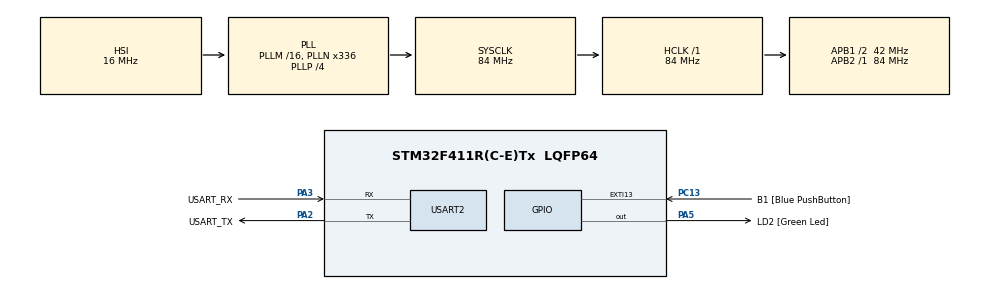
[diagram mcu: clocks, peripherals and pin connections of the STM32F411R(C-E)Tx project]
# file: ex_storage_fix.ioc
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Dma.Request0=USART2_RX
Dma.Request1=USART2_TX
Dma.USART2_RX.0.Direction=DMA_PERIPH_TO_MEMORY
Dma.USART2_RX.0.FIFOMode=DMA_FIFOMODE_DISABLE
Dma.USART2_RX.0.Instance=DMA1_Stream5
Dma.USART2_RX.0.MemDataAlignment=DMA_MDATAALIGN_BYTE
Dma.USART2_RX.0.MemInc=DMA_MINC_ENABLE
Dma.USART2_RX.0.Mode=DMA_NORMAL
Dma.USART2_RX.0.PeriphDataAlignment=DMA_PDATAALIGN_BYTE
Dma.USART2_RX.0.PeriphInc=DMA_PINC_DISABLE
Dma.USART2_RX.0.Priority=DMA_PRIORITY_LOW
Dma.USART2_TX.1.Direction=DMA_MEMORY_TO_PERIPH
Dma.USART2_TX.1.FIFOMode=DMA_FIFOMODE_DISABLE
Dma.USART2_TX.1.Instance=DMA1_Stream6
Dma.USART2_TX.1.MemDataAlignment=DMA_MDATAALIGN_BYTE
Dma.USART2_TX.1.MemInc=DMA_MINC_ENABLE
Dma.USART2_TX.1.Mode=DMA_NORMAL
Dma.USART2_TX.1.PeriphDataAlignment=DMA_PDATAALIGN_BYTE
Dma.USART2_TX.1.PeriphInc=DMA_PINC_DISABLE
Dma.USART2_TX.1.Priority=DMA_PRIORITY_LOW
Mcu.Family=STM32F4
Mcu.Name=STM32F411R(C-E)Tx
Mcu.Package=LQFP64
NVIC.DMA1_Stream5_IRQn=true\:0\:0\:false\:false\:true\:false\:true\:true
NVIC.DMA1_Stream6_IRQn=true\:0\:0\:false\:false\:true\:false\:true\:true
NVIC.PriorityGroup=NVIC_PRIORITYGROUP_0
NVIC.TIM2_IRQn=true\:0\:0\:false\:false\:true\:true\:true\:true
NVIC.USART2_IRQn=true\:0\:0\:false\:false\:true\:true\:true\:true
PA13.GPIO_Label=TMS
PA13.Mode=Serial_Wire
PA13.Signal=SYS_JTMS-SWDIO
PA14.GPIO_Label=TCK
PA14.Mode=Serial_Wire
PA14.Signal=SYS_JTCK-SWCLK
PA2.GPIO_Label=USART_TX
PA2.Mode=Asynchronous
PA2.Signal=USART2_TX
PA3.GPIO_Label=USART_RX
PA3.Mode=Asynchronous
PA3.Signal=USART2_RX
PA5.GPIO_Label=LD2 [Green Led]
PA5.Signal=GPIO_Output
PB3.GPIO_Label=SWO
PB3.Signal=SYS_JTDO-SWO
PC13-ANTI_TAMP.GPIO_Label=B1 [Blue PushButton]
PC13-ANTI_TAMP.GPIO_ModeDefaultEXTI=GPIO_MODE_IT_FALLING
PC13-ANTI_TAMP.Signal=GPXTI13
PC14-OSC32_IN.Mode=LSE-External-Oscillator
PC14-OSC32_IN.Signal=RCC_OSC32_IN
PC15-OSC32_OUT.Mode=LSE-External-Oscillator
PC15-OSC32_OUT.Signal=RCC_OSC32_OUT
PH0\ -\ OSC_IN.Mode=HSE-External-Clock-Source
PH0\ -\ OSC_IN.Signal=RCC_OSC_IN
PH1\ -\ OSC_OUT.Mode=HSE-External-Clock-Source
PH1\ -\ OSC_OUT.Signal=RCC_OSC_OUT
ProjectManager.HeapSize=0x200
ProjectManager.StackSize=0x400
ProjectManager.TargetToolchain=STM32CubeIDE
RCC.48MHZClocksFreq_Value=84000000
RCC.AHBFreq_Value=84000000
RCC.APB1CLKDivider=RCC_HCLK_DIV2
RCC.APB1Freq_Value=42000000
RCC.APB1TimFreq_Value=84000000
RCC.APB2Freq_Value=84000000
RCC.APB2TimFreq_Value=84000000
RCC.CortexFreq_Value=84000000
RCC.FLatency-AdvancedSettings=FLASH_LATENCY_2
RCC.HCLKFreq_Value=84000000
RCC.HSE_VALUE=8000000
RCC.HSI_VALUE=16000000
RCC.PLLN=336
RCC.PLLP=RCC_PLLP_DIV4
RCC.SYSCLKFreq_VALUE=84000000
RCC.SYSCLKSource=RCC_SYSCLKSOURCE_PLLCLK
RCC.VCOOutputFreq_Value=336000000
TIM2.Prescaler=84-1
USART2.VirtualMode=VM_ASYNC
VP_TIM2_VS_ClockSourceINT.Mode=Internal
board=NUCLEO-F411RE

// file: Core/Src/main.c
/* USER CODE BEGIN Header */
/**
  ******************************************************************************
  * @file           : main.c
  * @brief          : Main program body
  ******************************************************************************
  * @attention
  *
  * Copyright (c) 2022 STMicroelectronics.
  * All rights reserved.
  *
  * This software is licensed under terms that can be found in the LICENSE file
  * in the root directory of this software component.
  * If no LICENSE file comes with this software, it is provided AS-IS.
  *
  ******************************************************************************
  */
/* USER CODE END Header */
#include "main.h"

/* USER CODE BEGIN Includes */
#include "app_main.h"

/* USER CODE END Includes */

/* USER CODE BEGIN PD */
#define TASK_SIZE				4
#define TIMER_1MS_SIZE			1

#define ADDR_FLASH_SECTOR_0     ((uint32_t)0x08000000) /* Base @ of Sector 0, 16 Kbytes */
#define ADDR_FLASH_SECTOR_1     ((uint32_t)0x08004000) /* Base @ of Sector 1, 16 Kbytes */
#define ADDR_FLASH_SECTOR_2     ((uint32_t)0x08008000) /* Base @ of Sector 2, 16 Kbytes */
#define ADDR_FLASH_SECTOR_3     ((uint32_t)0x0800C000) /* Base @ of Sector 3, 16 Kbytes */
#define ADDR_FLASH_SECTOR_4     ((uint32_t)0x08010000) /* Base @ of Sector 4, 64 Kbytes */
#define ADDR_FLASH_SECTOR_5     ((uint32_t)0x08020000) /* Base @ of Sector 5, 128 Kbytes */
#define ADDR_FLASH_SECTOR_6     ((uint32_t)0x08040000) /* Base @ of Sector 6, 128 Kbytes */
#define ADDR_FLASH_SECTOR_7     ((uint32_t)0x08060000) /* Base @ of Sector 7, 128 Kbytes */

#define FLASH_USER_START_ADDR   ADDR_FLASH_SECTOR_6   /* Start @ of user Flash area */

#define STORAGE_SECTOR_SIZE		131072		// 128kbytes
#define STORAGE_VOLUME			262144		// 256kbytes

/* USER CODE END PD */

TIM_HandleTypeDef htim2;

UART_HandleTypeDef huart2;
DMA_HandleTypeDef hdma_usart2_rx;
DMA_HandleTypeDef hdma_usart2_tx;

/* USER CODE BEGIN PV */
static PifUart s_uart_log;

static uint16_t s_usLogTx;
static uint8_t s_ucLogRx;

/* USER CODE END PV */

void SystemClock_Config(void);
static void MX_GPIO_Init(void);
static void MX_DMA_Init(void);
static void MX_USART2_UART_Init(void);
static void MX_TIM2_Init(void);

/* USER CODE BEGIN 0 */
static uint32_t micros()
{
    return htim2.Instance->CNT;
}

static BOOL actLogStartTransfer(PifUart* p_uart)
{
	uint8_t *pucData, ucState;

	s_usLogTx = 0;
	ucState = pifUart_StartGetTxData(p_uart, &pucData, &s_usLogTx);
	if (ucState & PIF_UART_SEND_DATA_STATE_DATA) {
		HAL_UART_Transmit_IT(&huart2, pucData, s_usLogTx);
		return TRUE;
	}
	return FALSE;
}

void HAL_UART_TxCpltCallback(UART_HandleTypeDef *huart)
{
	uint8_t *pucData, ucState;

	if (huart->Instance == USART2) {
		ucState = pifUart_EndGetTxData(&s_uart_log, s_usLogTx);
		if (!(ucState & PIF_UART_SEND_DATA_STATE_EMPTY)) {
			s_usLogTx = 0;
			ucState = pifUart_StartGetTxData(&s_uart_log, &pucData, &s_usLogTx);
			if (ucState & PIF_UART_SEND_DATA_STATE_DATA) {
				HAL_UART_Transmit_IT(huart, pucData, s_usLogTx);
			}
		}
	}
}

void HAL_UART_RxCpltCallback(UART_HandleTypeDef *huart)
{
	if (huart->Instance == USART2) {
		pifUart_PutRxByte(&s_uart_log, s_ucLogRx);
		HAL_UART_Receive_IT(huart, &s_ucLogRx, 1);
	}
}

static void evtLedToggle(void *pvIssuer)
{
	static BOOL sw = OFF;

	(void)pvIssuer;

    HAL_GPIO_WritePin(LD2_GPIO_Port, LD2_Pin, sw);
	sw ^= 1;
}

static uint32_t GetSector(uint32_t address)
{
	uint32_t sector = 0;

	if ((address < ADDR_FLASH_SECTOR_1) && (address >= ADDR_FLASH_SECTOR_0)) {
		sector = FLASH_SECTOR_0;	// 16Kbytes
	}
	else if ((address < ADDR_FLASH_SECTOR_2) && (address >= ADDR_FLASH_SECTOR_1)) {
		sector = FLASH_SECTOR_1;	// 16Kbytes
	}
	else if ((address < ADDR_FLASH_SECTOR_3) && (address >= ADDR_FLASH_SECTOR_2)) {
		sector = FLASH_SECTOR_2;	// 16Kbytes
	}
	else if ((address < ADDR_FLASH_SECTOR_4) && (address >= ADDR_FLASH_SECTOR_3)) {
		sector = FLASH_SECTOR_3;	// 16Kbytes
	}
	else if ((address < ADDR_FLASH_SECTOR_5) && (address >= ADDR_FLASH_SECTOR_4)) {
		sector = FLASH_SECTOR_4;	// 64Kbytes
	}
	else if ((address < ADDR_FLASH_SECTOR_6) && (address >= ADDR_FLASH_SECTOR_5)) {
		sector = FLASH_SECTOR_5;	// 128Kbytes
	}
	else if ((address < ADDR_FLASH_SECTOR_7) && (address >= ADDR_FLASH_SECTOR_6)) {
		sector = FLASH_SECTOR_6;	// 128Kbytes
	}
	else {
		sector = FLASH_SECTOR_7;
	}

	return sector;
}

static HAL_StatusTypeDef EraseFlash(uint32_t start_addr)
{
	uint32_t sector_error = 0;

	/* Unlock to control */
	HAL_FLASH_Unlock();

	/* Calculate sector index */

	/* Erase sectors */
	FLASH_EraseInitTypeDef EraseInitStruct;
	EraseInitStruct.TypeErase = FLASH_TYPEERASE_SECTORS;
	EraseInitStruct.VoltageRange = FLASH_VOLTAGE_RANGE_3;
	EraseInitStruct.Sector = GetSector(start_addr);
	EraseInitStruct.NbSectors = 1;

	if (HAL_FLASHEx_Erase(&EraseInitStruct, &sector_error) != HAL_OK) return HAL_ERROR;

	/* Clear cache for flash */
	__HAL_FLASH_DATA_CACHE_DISABLE();
	__HAL_FLASH_INSTRUCTION_CACHE_DISABLE();

	__HAL_FLASH_DATA_CACHE_RESET();
	__HAL_FLASH_INSTRUCTION_CACHE_RESET();

	__HAL_FLASH_INSTRUCTION_CACHE_ENABLE();
	__HAL_FLASH_DATA_CACHE_ENABLE();

	/* Lock flash control register */
	HAL_FLASH_Lock();

	return HAL_OK;
}

static BOOL actStorageRead(PifStorage* p_owner, uint8_t* dst, uint32_t src, size_t size)
{
	uint32_t address = FLASH_USER_START_ADDR + src;
	uint32_t* dp = (uint32_t*)dst;
	size_t i;

	(void)p_owner;

	for (i = 0; i < size; i += 4) {
		*dp = *(__IO uint32_t*)(address + i);
		dp++;
	}
	return TRUE;
}

static BOOL actStorageWrite(PifStorage* p_owner, uint32_t dst, uint8_t* src, size_t size)
{
	uint32_t address = FLASH_USER_START_ADDR + dst;
	uint32_t* sp = (uint32_t*)src;
	size_t i;

	(void)p_owner;

	if (EraseFlash(address) != HAL_OK) return FALSE;

	/* Unlock to control */
	HAL_FLASH_Unlock();

	for (i = 0; i < size; i += 4) {
		/* Writing data to flash memory */
		if (HAL_FLASH_Program(FLASH_TYPEPROGRAM_WORD, address + i, *sp) != HAL_OK) {
			return FALSE;
		}
		sp++;
	}

	/* Lock flash control register */
	HAL_FLASH_Lock();

	return TRUE;
}

/* USER CODE END 0 */

int main(void)
{

  /* MCU Configuration--------------------------------------------------------*/

  /* Reset of all peripherals, Initializes the Flash interface and the Systick. */
  HAL_Init();

  /* Configure the system clock */
  SystemClock_Config();

  /* Initialize all configured peripherals */
  MX_GPIO_Init();
  MX_DMA_Init();
  MX_USART2_UART_Init();
  MX_TIM2_Init();
  /* USER CODE BEGIN 2 */
  HAL_TIM_IC_Start_IT(&htim2, TIM_CHANNEL_1);

  pif_Init(micros);

  if (!pifTaskManager_Init(TASK_SIZE, 1)) return -1;

  if (!pifTimerManager_Init(&g_timer_1ms, PIF_ID_AUTO, 1000, TIMER_1MS_SIZE)) return -1;		// 1000us

  if (!pifUart_Init(&s_uart_log, PIF_ID_AUTO, huart2.Init.BaudRate)) return -1;
  if (!pifUart_AttachTxTask(&s_uart_log, PIF_ID_AUTO, TM_EXTERNAL, 0, NULL)) return -1;
  if (!pifUart_AttachRxTask(&s_uart_log, PIF_ID_AUTO, TM_PERIOD, 200000, NULL)) return -1;		// 200ms
  if (!pifUart_AllocRxBuffer(&s_uart_log, 64)) return -1;										// 64bytes
  if (!pifUart_AllocTxBuffer(&s_uart_log, 128)) return -1;										// 128bytes
  s_uart_log.act_start_transfer = actLogStartTransfer;

  HAL_UART_Receive_IT(&huart2, &s_ucLogRx, 1);

  pifLog_Init();
  if (!pifLog_AttachUart(&s_uart_log, 256)) return -1;											// 256bytes

  g_timer_led = pifTimerManager_Add(&g_timer_1ms, TT_REPEAT);
  if (!g_timer_led) return -1;
  pifTimer_AttachEvtFinish(g_timer_led, evtLedToggle, NULL, FALSE);

  if (!pifStorageFix_Init(&g_storage, PIF_ID_AUTO)) return -1;
  if (!pifStorageFix_AttachActStorage(&g_storage, actStorageRead, actStorageWrite)) return -1;
  if (!pifStorageFix_SetMedia(&g_storage, STORAGE_SECTOR_SIZE, STORAGE_VOLUME)) return -1;

  if (!appSetup()) return -1;

	pifLog_Print(LT_NONE, "\n\n****************************************\n");
	pifLog_Print(LT_NONE, "***          ex_srorage_fix          ***\n");
	pifLog_Printf(LT_NONE, "***       %s %s       ***\n", __DATE__, __TIME__);
	pifLog_Print(LT_NONE, "****************************************\n");
  pifLog_Printf(LT_INFO, "Task=%d/%d Timer=%d/%d\n", pifTaskManager_Count(), TASK_SIZE, pifTimerManager_Count(&g_timer_1ms), TIMER_1MS_SIZE);

  /* USER CODE END 2 */

  /* Infinite loop */
  /* USER CODE BEGIN WHILE */
  while (1)
  {
	pifTaskManager_Loop();
    /* USER CODE END WHILE */

  }
}

void SystemClock_Config(void)
{
  RCC_OscInitTypeDef RCC_OscInitStruct = {0};
  RCC_ClkInitTypeDef RCC_ClkInitStruct = {0};

  /** Configure the main internal regulator output voltage
  */
  __HAL_RCC_PWR_CLK_ENABLE();
  __HAL_PWR_VOLTAGESCALING_CONFIG(PWR_REGULATOR_VOLTAGE_SCALE1);

  /** Initializes the RCC Oscillators according to the specified parameters
  * in the RCC_OscInitTypeDef structure.
  */
  RCC_OscInitStruct.OscillatorType = RCC_OSCILLATORTYPE_HSI;
  RCC_OscInitStruct.HSIState = RCC_HSI_ON;
  RCC_OscInitStruct.HSICalibrationValue = RCC_HSICALIBRATION_DEFAULT;
  RCC_OscInitStruct.PLL.PLLState = RCC_PLL_ON;
  RCC_OscInitStruct.PLL.PLLSource = RCC_PLLSOURCE_HSI;
  RCC_OscInitStruct.PLL.PLLM = 16;
  RCC_OscInitStruct.PLL.PLLN = 336;
  RCC_OscInitStruct.PLL.PLLP = RCC_PLLP_DIV4;
  RCC_OscInitStruct.PLL.PLLQ = 4;
  if (HAL_RCC_OscConfig(&RCC_OscInitStruct) != HAL_OK)
  {
    Error_Handler();
  }

  /** Initializes the CPU, AHB and APB buses clocks
  */
  RCC_ClkInitStruct.ClockType = RCC_CLOCKTYPE_HCLK|RCC_CLOCKTYPE_SYSCLK
                              |RCC_CLOCKTYPE_PCLK1|RCC_CLOCKTYPE_PCLK2;
  RCC_ClkInitStruct.SYSCLKSource = RCC_SYSCLKSOURCE_PLLCLK;
  RCC_ClkInitStruct.AHBCLKDivider = RCC_SYSCLK_DIV1;
  RCC_ClkInitStruct.APB1CLKDivider = RCC_HCLK_DIV2;
  RCC_ClkInitStruct.APB2CLKDivider = RCC_HCLK_DIV1;

  if (HAL_RCC_ClockConfig(&RCC_ClkInitStruct, FLASH_LATENCY_2) != HAL_OK)
  {
    Error_Handler();
  }
}

static void MX_TIM2_Init(void)
{

  TIM_ClockConfigTypeDef sClockSourceConfig = {0};
  TIM_MasterConfigTypeDef sMasterConfig = {0};

  htim2.Instance = TIM2;
  htim2.Init.Prescaler = 84-1;
  htim2.Init.CounterMode = TIM_COUNTERMODE_UP;
  htim2.Init.Period = 4294967295;
  htim2.Init.ClockDivision = TIM_CLOCKDIVISION_DIV1;
  htim2.Init.AutoReloadPreload = TIM_AUTORELOAD_PRELOAD_DISABLE;
  if (HAL_TIM_Base_Init(&htim2) != HAL_OK)
  {
    Error_Handler();
  }
  sClockSourceConfig.ClockSource = TIM_CLOCKSOURCE_INTERNAL;
  if (HAL_TIM_ConfigClockSource(&htim2, &sClockSourceConfig) != HAL_OK)
  {
    Error_Handler();
  }
  sMasterConfig.MasterOutputTrigger = TIM_TRGO_RESET;
  sMasterConfig.MasterSlaveMode = TIM_MASTERSLAVEMODE_DISABLE;
  if (HAL_TIMEx_MasterConfigSynchronization(&htim2, &sMasterConfig) != HAL_OK)
  {
    Error_Handler();
  }

}

static void MX_USART2_UART_Init(void)
{

  huart2.Instance = USART2;
  huart2.Init.BaudRate = 115200;
  huart2.Init.WordLength = UART_WORDLENGTH_8B;
  huart2.Init.StopBits = UART_STOPBITS_1;
  huart2.Init.Parity = UART_PARITY_NONE;
  huart2.Init.Mode = UART_MODE_TX_RX;
  huart2.Init.HwFlowCtl = UART_HWCONTROL_NONE;
  huart2.Init.OverSampling = UART_OVERSAMPLING_16;
  if (HAL_UART_Init(&huart2) != HAL_OK)
  {
    Error_Handler();
  }

}

static void MX_DMA_Init(void)
{

  /* DMA controller clock enable */
  __HAL_RCC_DMA1_CLK_ENABLE();

  /* DMA interrupt init */
  /* DMA1_Stream5_IRQn interrupt configuration */
  HAL_NVIC_SetPriority(DMA1_Stream5_IRQn, 0, 0);
  HAL_NVIC_EnableIRQ(DMA1_Stream5_IRQn);
  /* DMA1_Stream6_IRQn interrupt configuration */
  HAL_NVIC_SetPriority(DMA1_Stream6_IRQn, 0, 0);
  HAL_NVIC_EnableIRQ(DMA1_Stream6_IRQn);

}

static void MX_GPIO_Init(void)
{
  GPIO_InitTypeDef GPIO_InitStruct = {0};

  /* GPIO Ports Clock Enable */
  __HAL_RCC_GPIOC_CLK_ENABLE();
  __HAL_RCC_GPIOH_CLK_ENABLE();
  __HAL_RCC_GPIOA_CLK_ENABLE();
  __HAL_RCC_GPIOB_CLK_ENABLE();

  /*Configure GPIO pin Output Level */
  HAL_GPIO_WritePin(LD2_GPIO_Port, LD2_Pin, GPIO_PIN_RESET);

  /*Configure GPIO pin : B1_Pin */
  GPIO_InitStruct.Pin = B1_Pin;
  GPIO_InitStruct.Mode = GPIO_MODE_IT_FALLING;
  GPIO_InitStruct.Pull = GPIO_NOPULL;
  HAL_GPIO_Init(B1_GPIO_Port, &GPIO_InitStruct);

  /*Configure GPIO pin : LD2_Pin */
  GPIO_InitStruct.Pin = LD2_Pin;
  GPIO_InitStruct.Mode = GPIO_MODE_OUTPUT_PP;
  GPIO_InitStruct.Pull = GPIO_NOPULL;
  GPIO_InitStruct.Speed = GPIO_SPEED_FREQ_LOW;
  HAL_GPIO_Init(LD2_GPIO_Port, &GPIO_InitStruct);

}

void Error_Handler(void)
{
  __disable_irq();
  while (1)
  {
  }
}
